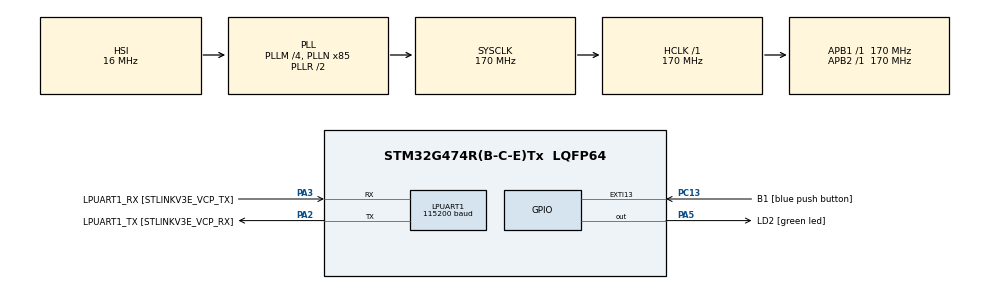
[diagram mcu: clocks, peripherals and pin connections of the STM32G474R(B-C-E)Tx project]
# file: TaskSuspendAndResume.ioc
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FREERTOS.Tasks01=defaultTask,24,128,StartDefaultTask,Default,NULL,Dynamic,NULL,NULL
FREERTOS.configENABLE_FPU=1
FREERTOS.configTOTAL_HEAP_SIZE=51200
FREERTOS.configUSE_NEWLIB_REENTRANT=1
LPUART1.BaudRate=115200
LPUART1.WordLength=UART_WORDLENGTH_8B
Mcu.Family=STM32G4
Mcu.Name=STM32G474R(B-C-E)Tx
Mcu.Package=LQFP64
NVIC.EXTI15_10_IRQn=true\:5\:0\:false\:false\:true\:true\:true\:true\:true
NVIC.PriorityGroup=NVIC_PRIORITYGROUP_4
NVIC.TIM1_UP_TIM16_IRQn=true\:15\:0\:false\:false\:true\:false\:false\:true\:true
NVIC.TimeBase=TIM1_UP_TIM16_IRQn
NVIC.TimeBaseIP=TIM1
PA13.GPIO_Label=T_SWDIO
PA13.Mode=Serial_Wire
PA13.Signal=SYS_JTMS-SWDIO
PA14.GPIO_Label=T_SWCLK
PA14.Mode=Serial_Wire
PA14.Signal=SYS_JTCK-SWCLK
PA2.GPIO_Label=LPUART1_TX [STLINKV3E_VCP_RX]
PA2.Mode=Asynchronous
PA2.Signal=LPUART1_TX
PA3.GPIO_Label=LPUART1_RX [STLINKV3E_VCP_TX]
PA3.Mode=Asynchronous
PA3.Signal=LPUART1_RX
PA5.GPIO_Label=LD2 [green led]
PA5.Signal=GPIO_Output
PB3.GPIO_Label=T_SWO
PB3.Signal=SYS_JTDO-SWO
PC13.GPIO_Label=B1 [blue push button]
PC13.Signal=GPXTI13
PC14-OSC32_IN.Mode=LSE-External-Oscillator
PC14-OSC32_IN.Signal=RCC_OSC32_IN
PC15-OSC32_OUT.Mode=LSE-External-Oscillator
PC15-OSC32_OUT.Signal=RCC_OSC32_OUT
PF0-OSC_IN.Mode=HSE-External-Oscillator
PF0-OSC_IN.Signal=RCC_OSC_IN
PF1-OSC_OUT.Mode=HSE-External-Oscillator
PF1-OSC_OUT.Signal=RCC_OSC_OUT
ProjectManager.HeapSize=0x200
ProjectManager.StackSize=0x400
ProjectManager.TargetToolchain=STM32CubeIDE
RCC.ADC12Freq_Value=170000000
RCC.ADC345Freq_Value=170000000
RCC.AHBFreq_Value=170000000
RCC.APB1Freq_Value=170000000
RCC.APB1TimFreq_Value=170000000
RCC.APB2Freq_Value=170000000
RCC.APB2TimFreq_Value=170000000
RCC.CortexFreq_Value=170000000
RCC.EXTERNAL_CLOCK_VALUE=12288000
RCC.HCLKFreq_Value=170000000
RCC.HSE_VALUE=24000000
RCC.HSI48_VALUE=48000000
RCC.HSI_VALUE=16000000
RCC.PLLM=RCC_PLLM_DIV4
RCC.PLLN=85
RCC.RTCClockSelection=RCC_RTCCLKSOURCE_LSE
RCC.SYSCLKFreq_VALUE=170000000
RCC.SYSCLKSource=RCC_SYSCLKSOURCE_PLLCLK
RCC.USBFreq_Value=170000000
RCC.VCOOutputFreq_Value=340000000
VP_FREERTOS_VS_CMSIS_V2.Mode=CMSIS_V2
VP_SYS_VS_DBSignals.Mode=DisableDeadBatterySignals
VP_SYS_VS_tim1.Mode=TIM1
board=NUCLEO-G474RE

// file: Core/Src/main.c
/* USER CODE BEGIN Header */
/**
  ******************************************************************************
  * @file           : main.c
  * @brief          : Main program body
  ******************************************************************************
  * @attention
  *
  * Copyright (c) 2023 STMicroelectronics.
  * All rights reserved.
  *
  * This software is licensed under terms that can be found in the LICENSE file
  * in the root directory of this software component.
  * If no LICENSE file comes with this software, it is provided AS-IS.
  *
  ******************************************************************************
  */
/* USER CODE END Header */
#include "main.h"
#include "cmsis_os.h"
#include "usart.h"
#include "gpio.h"

void SystemClock_Config(void);
void MX_FREERTOS_Init(void);

int main(void)
{

  /* MCU Configuration--------------------------------------------------------*/

  /* Reset of all peripherals, Initializes the Flash interface and the Systick. */
  HAL_Init();

  /* Configure the system clock */
  SystemClock_Config();

  /* Initialize all configured peripherals */
  MX_GPIO_Init();
  MX_LPUART1_UART_Init();

  /* Init scheduler */
  osKernelInitialize();  /* Call init function for freertos objects (in freertos.c) */
  MX_FREERTOS_Init();

  /* Start scheduler */
  osKernelStart();

  /* We should never get here as control is now taken by the scheduler */
  /* Infinite loop */
  while (1)
  {

  }
}

void SystemClock_Config(void)
{
  RCC_OscInitTypeDef RCC_OscInitStruct = {0};
  RCC_ClkInitTypeDef RCC_ClkInitStruct = {0};

  /** Configure the main internal regulator output voltage
  */
  HAL_PWREx_ControlVoltageScaling(PWR_REGULATOR_VOLTAGE_SCALE1_BOOST);

  /** Initializes the RCC Oscillators according to the specified parameters
  * in the RCC_OscInitTypeDef structure.
  */
  RCC_OscInitStruct.OscillatorType = RCC_OSCILLATORTYPE_HSI;
  RCC_OscInitStruct.HSIState = RCC_HSI_ON;
  RCC_OscInitStruct.HSICalibrationValue = RCC_HSICALIBRATION_DEFAULT;
  RCC_OscInitStruct.PLL.PLLState = RCC_PLL_ON;
  RCC_OscInitStruct.PLL.PLLSource = RCC_PLLSOURCE_HSI;
  RCC_OscInitStruct.PLL.PLLM = RCC_PLLM_DIV4;
  RCC_OscInitStruct.PLL.PLLN = 85;
  RCC_OscInitStruct.PLL.PLLP = RCC_PLLP_DIV2;
  RCC_OscInitStruct.PLL.PLLQ = RCC_PLLQ_DIV2;
  RCC_OscInitStruct.PLL.PLLR = RCC_PLLR_DIV2;
  if (HAL_RCC_OscConfig(&RCC_OscInitStruct) != HAL_OK)
  {
    Error_Handler();
  }

  /** Initializes the CPU, AHB and APB buses clocks
  */
  RCC_ClkInitStruct.ClockType = RCC_CLOCKTYPE_HCLK|RCC_CLOCKTYPE_SYSCLK
                              |RCC_CLOCKTYPE_PCLK1|RCC_CLOCKTYPE_PCLK2;
  RCC_ClkInitStruct.SYSCLKSource = RCC_SYSCLKSOURCE_PLLCLK;
  RCC_ClkInitStruct.AHBCLKDivider = RCC_SYSCLK_DIV1;
  RCC_ClkInitStruct.APB1CLKDivider = RCC_HCLK_DIV1;
  RCC_ClkInitStruct.APB2CLKDivider = RCC_HCLK_DIV1;

  if (HAL_RCC_ClockConfig(&RCC_ClkInitStruct, FLASH_LATENCY_4) != HAL_OK)
  {
    Error_Handler();
  }
}

void HAL_TIM_PeriodElapsedCallback(TIM_HandleTypeDef *htim)
{
  if (htim->Instance == TIM1) {
    HAL_IncTick();
  }
}

void Error_Handler(void)
{
  __disable_irq();
  while (1)
  {
  }
}

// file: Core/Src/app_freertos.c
/* USER CODE BEGIN Header */
/**
  ******************************************************************************
  * File Name          : app_freertos.c
  * Description        : Code for freertos applications
  ******************************************************************************
  * @attention
  *
  * Copyright (c) 2023 STMicroelectronics.
  * All rights reserved.
  *
  * This software is licensed under terms that can be found in the LICENSE file
  * in the root directory of this software component.
  * If no LICENSE file comes with this software, it is provided AS-IS.
  *
  ******************************************************************************
  */
/* USER CODE END Header */

#include "FreeRTOS.h"
#include "task.h"
#include "main.h"
#include "cmsis_os.h"

/* USER CODE BEGIN Includes */
#include "stdio.h"
/* USER CODE END Includes */

/* USER CODE BEGIN Variables */
// 定义任务句柄
TaskHandle_t taskHandle1;
TaskHandle_t taskHandle2;
TaskHandle_t taskHandle3;
/* USER CODE END Variables */
/* Definitions for defaultTask */
osThreadId_t defaultTaskHandle;
const osThreadAttr_t defaultTask_attributes = {
  .name = "defaultTask",
  .priority = (osPriority_t) osPriorityNormal,
  .stack_size = 1024
};

/* USER CODE BEGIN FunctionPrototypes */
// 测试的任务线程
void Task1(void *argument);

void Task2(void *argument);

void Task3(void *argument);
/* USER CODE END FunctionPrototypes */

void StartDefaultTask(void *argument);

void MX_FREERTOS_Init(void); /* (MISRA C 2004 rule 8.1) */

void MX_FREERTOS_Init(void) {

  /* Create the thread(s) */
  /* creation of defaultTask */
  defaultTaskHandle = osThreadNew(StartDefaultTask, NULL, &defaultTask_attributes);

  /* USER CODE BEGIN RTOS_THREADS */
  /* add threads, ... */
    xTaskCreate(Task1,"task1",512,NULL,osPriorityLow1,&taskHandle1);
    xTaskCreate(Task2,"task2",512,NULL,osPriorityLow2,&taskHandle2);
    xTaskCreate(Task3,"task3",512,NULL,osPriorityLow3,&taskHandle3);
  /* USER CODE END RTOS_THREADS */

}

void StartDefaultTask(void *argument)
{
  /* USER CODE BEGIN StartDefaultTask */
  /* Infinite loop */
  for(;;)
  {
      HAL_GPIO_TogglePin(LD2_GPIO_Port,LD2_Pin);
    osDelay(500);
  }
  /* USER CODE END StartDefaultTask */
}

/* USER CODE BEGIN Application */

void Task1(void *argument) {
    uint32_t i = 1;
    while (1){
        printf("Task1 run:%d\n",i);
        vTaskDelay(500);
        i++;
    }
}

void Task2(void *argument) {
    uint32_t j = 1;
    while (1){
        printf("Task2 run:%d\n",j);
        vTaskDelay(500);
        if (j++ == 5){
            vTaskSuspend(taskHandle1);
        }
    }
}

void Task3(void *argument) {
    uint32_t k = 1;
    while (1){
        printf("Task3 run:%d\n",k);
        vTaskDelay(500);
        if (k++ == 10){
            vTaskResume(taskHandle1);
            vTaskSuspend(NULL);
        }
    }
}
/* USER CODE END Application */
